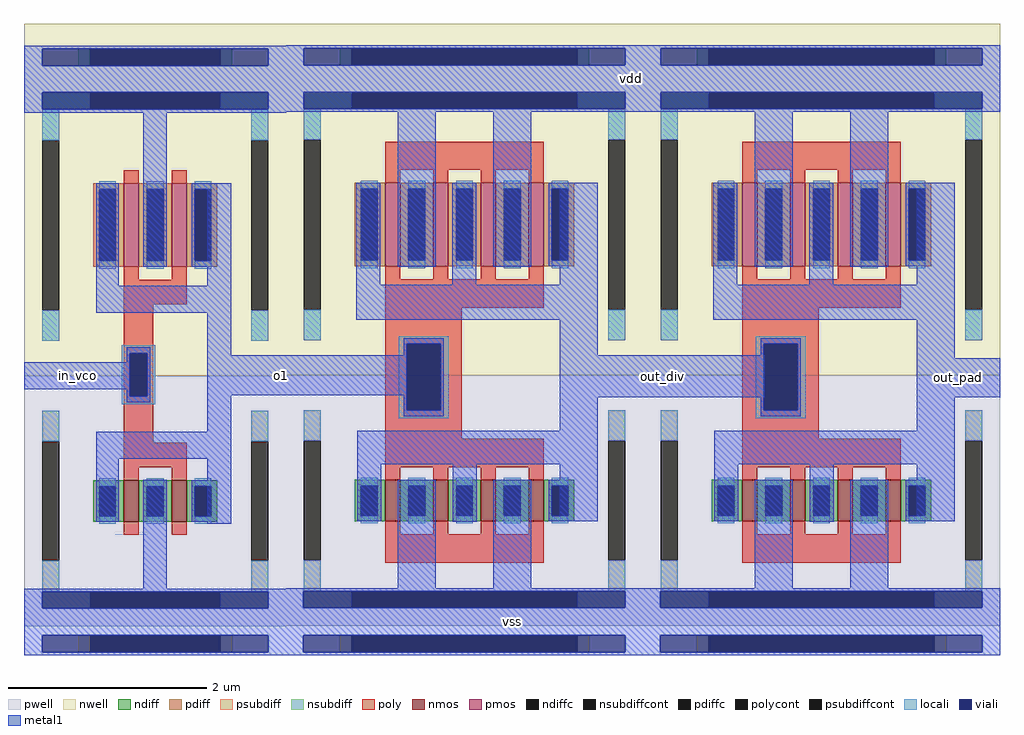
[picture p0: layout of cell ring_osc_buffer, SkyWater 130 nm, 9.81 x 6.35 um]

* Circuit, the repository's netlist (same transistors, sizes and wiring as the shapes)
**.subckt ring_osc_buffer vdd vss in_vco out_pad out_div o1
*.iopin vdd
*.iopin vss
*.ipin in_vco
*.opin out_pad
*.opin out_div
*.iopin o1
x1 vdd o1 in_vco vss inverter_min_x2
x2 vdd out_div o1 vss inverter_min_x4
x3 vdd out_pad out_div vss inverter_min_x4
**.ends

* expanding   symbol:  inverter_min_x2.sym # of pins=4
* sym_path: /home/dhernando/caravel_analog_fulgor/xschem/inverter_min_x2.sym
* sch_path: /home/dhernando/caravel_analog_fulgor/xschem/inverter_min_x2.sch
.subckt inverter_min_x2  vdd out in vss
*.iopin vss
*.ipin in
*.opin out
*.iopin vdd
XM2 out in vdd vdd sky130_fd_pr__pfet_01v8 L=0.15 W=0.84 nf=1 ad='int((nf+1)/2) * W/nf * 0.29' as='int((nf+2)/2) * W/nf * 0.29'
+ pd='2*int((nf+1)/2) * (W/nf + 0.29)' ps='2*int((nf+2)/2) * (W/nf + 0.29)' nrd='0.29 / W' nrs='0.29 / W'
+ sa=0 sb=0 sd=0 mult=2 m=2 
XM1 out in vss vss sky130_fd_pr__nfet_01v8 L=0.15 W=0.42 nf=1 ad='int((nf+1)/2) * W/nf * 0.29' as='int((nf+2)/2) * W/nf * 0.29'
+ pd='2*int((nf+1)/2) * (W/nf + 0.29)' ps='2*int((nf+2)/2) * (W/nf + 0.29)' nrd='0.29 / W' nrs='0.29 / W'
+ sa=0 sb=0 sd=0 mult=2 m=2 
.ends


* expanding   symbol:  inverter_min_x4.sym # of pins=4
* sym_path: /home/dhernando/caravel_analog_fulgor/xschem/inverter_min_x4.sym
* sch_path: /home/dhernando/caravel_analog_fulgor/xschem/inverter_min_x4.sch
.subckt inverter_min_x4  vdd out in vss
*.iopin vss
*.ipin in
*.opin out
*.iopin vdd
XM2 out in vdd vdd sky130_fd_pr__pfet_01v8 L=0.15 W=0.84 nf=1 ad='int((nf+1)/2) * W/nf * 0.29' as='int((nf+2)/2) * W/nf * 0.29'
+ pd='2*int((nf+1)/2) * (W/nf + 0.29)' ps='2*int((nf+2)/2) * (W/nf + 0.29)' nrd='0.29 / W' nrs='0.29 / W'
+ sa=0 sb=0 sd=0 mult=4 m=4 
XM1 out in vss vss sky130_fd_pr__nfet_01v8 L=0.15 W=0.42 nf=1 ad='int((nf+1)/2) * W/nf * 0.29' as='int((nf+2)/2) * W/nf * 0.29'
+ pd='2*int((nf+1)/2) * (W/nf + 0.29)' ps='2*int((nf+2)/2) * (W/nf + 0.29)' nrd='0.29 / W' nrs='0.29 / W'
+ sa=0 sb=0 sd=0 mult=4 m=4 
.ends

** flattened .save nodes
.end

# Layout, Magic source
magic
tech sky130A
magscale 1 2
<< nwell >>
rect 1 1259 1963 1270
rect 1 744 1961 1259
<< metal1 >>
rect 491 1186 1963 1187
rect 1 1133 1963 1186
rect 1 1132 1954 1133
rect 1 535 213 589
rect 397 523 639 603
rect 1078 519 1490 603
rect 1796 519 1963 597
rect 0 40 1963 94
use inverter_min_x4  inverter_min_x4_0
transform 1 0 580 0 1 616
box -53 -616 665 643
use inverter_min_x4  inverter_min_x4_1
transform 1 0 1298 0 1 616
box -53 -616 665 643
use inverter_min_x2  inverter_min_x2_0
transform 1 0 54 0 1 615
box -53 -615 473 655
<< labels >>
rlabel metal1 1 535 213 589 1 in_vco
rlabel metal1 397 523 639 603 1 o1
rlabel metal1 1078 519 1490 603 1 out_div
rlabel metal1 1796 519 1963 597 1 out_pad
rlabel metal1 491 1132 1954 1187 1 vdd
rlabel metal1 0 40 1963 94 1 vss
<< end >>

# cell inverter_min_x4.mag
magic
tech sky130A
magscale 1 2
<< nwell >>
rect -53 531 665 643
<< psubdiff >>
rect 55 -610 79 -576
rect 533 -610 557 -576
<< nsubdiff >>
rect 55 571 79 605
rect 533 571 557 605
<< psubdiffcont >>
rect 79 -610 533 -576
<< nsubdiffcont >>
rect 79 571 533 605
<< poly >>
rect 147 360 465 417
rect 147 83 465 140
rect 147 10 300 83
rect 147 -123 190 10
rect 258 -123 300 10
rect 147 -181 300 -123
rect 147 -238 465 -181
rect 147 -430 465 -373
<< polycont >>
rect 190 -123 258 10
<< locali >>
rect 174 10 274 26
rect 174 -123 190 10
rect 258 -123 274 10
rect 174 -139 274 -123
<< viali >>
rect -17 571 79 605
rect 79 571 533 605
rect 533 571 629 605
rect -17 483 629 517
rect 190 -123 258 10
rect -18 -521 629 -487
rect -18 -610 79 -576
rect 79 -610 533 -576
rect 533 -610 629 -576
<< metal1 >>
rect -53 605 665 611
rect -53 571 -17 605
rect 629 571 665 605
rect -53 517 665 571
rect -53 483 -17 517
rect 629 483 665 517
rect -53 477 665 483
rect 88 129 137 334
rect 172 165 248 477
rect 281 129 330 333
rect 364 165 440 477
rect 498 129 574 334
rect 88 59 574 129
rect 184 10 264 22
rect 184 -13 190 10
rect -53 -93 190 -13
rect 184 -123 190 -93
rect 258 -123 264 10
rect 184 -135 264 -123
rect 498 -19 574 59
rect 498 -97 665 -19
rect 498 -165 574 -97
rect 90 -232 574 -165
rect 90 -347 139 -232
rect 172 -481 248 -263
rect 282 -348 331 -232
rect 364 -481 440 -263
rect 498 -347 574 -232
rect -53 -487 665 -481
rect -53 -521 -18 -487
rect 629 -521 665 -487
rect -53 -576 665 -521
rect -53 -610 -18 -576
rect 629 -610 665 -576
rect -53 -616 665 -610
use sky130_fd_pr__nfet_01v8_DXA56D  sky130_fd_pr__nfet_01v8_DXA56D_0
transform 1 0 306 0 1 -305
box -359 -252 359 252
use sky130_fd_pr__pfet_01v8_ZP3U9B  sky130_fd_pr__pfet_01v8_ZP3U9B_0
transform 1 0 306 0 1 250
box -359 -303 359 303
<< labels >>
rlabel metal1 -53 -576 665 -521 1 vss
rlabel metal1 -53 -93 190 -13 1 in
rlabel metal1 498 -97 665 -19 1 out
rlabel metal1 -53 517 665 571 1 vdd
<< end >>

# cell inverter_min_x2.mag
magic
tech sky130A
magscale 1 2
<< nwell >>
rect -53 551 473 655
rect 24 543 385 551
rect 29 539 371 543
<< psubdiff >>
rect 55 -609 79 -575
rect 341 -609 365 -575
<< nsubdiff >>
rect 55 571 79 605
rect 341 571 365 605
<< psubdiffcont >>
rect 79 -609 341 -575
<< nsubdiffcont >>
rect 79 571 341 605
<< poly >>
rect 147 91 273 140
rect 147 -8 206 91
rect 147 -94 159 -8
rect 194 -94 206 -8
rect 147 -188 206 -94
rect 147 -237 273 -188
<< polycont >>
rect 159 -94 194 -8
<< locali >>
rect 143 -8 210 8
rect 143 -94 159 -8
rect 194 -94 210 -8
rect 143 -110 210 -94
<< viali >>
rect -17 571 79 605
rect 79 571 341 605
rect 341 571 437 605
rect -17 483 437 517
rect 159 -94 194 -8
rect -17 -521 437 -487
rect -17 -609 79 -575
rect 79 -609 341 -575
rect 341 -609 437 -575
<< metal1 >>
rect -53 605 473 611
rect -53 571 -17 605
rect 437 571 473 605
rect -53 517 473 571
rect -53 483 -17 517
rect 437 483 473 517
rect -53 476 473 483
rect 91 128 137 334
rect 186 166 233 476
rect 315 128 363 334
rect 91 74 363 128
rect 153 -8 200 4
rect 153 -26 159 -8
rect -53 -80 159 -26
rect 153 -94 159 -80
rect 194 -94 200 -8
rect 153 -106 200 -94
rect 315 -26 363 74
rect 315 -80 473 -26
rect 315 -166 363 -80
rect 91 -220 363 -166
rect 91 -347 137 -220
rect 186 -481 233 -262
rect 315 -351 363 -220
rect -53 -487 473 -481
rect -53 -521 -17 -487
rect 437 -521 473 -487
rect -53 -575 473 -521
rect -53 -609 -17 -575
rect 437 -609 473 -575
rect -53 -615 473 -609
use sky130_fd_pr__pfet_01v8_ZPB9BB  sky130_fd_pr__pfet_01v8_ZPB9BB_0
transform 1 0 210 0 1 250
box -263 -303 263 303
use sky130_fd_pr__nfet_01v8_5RJ8EK  sky130_fd_pr__nfet_01v8_5RJ8EK_0
transform 1 0 210 0 1 -305
box -263 -252 263 252
<< labels >>
rlabel metal1 -53 -80 159 -26 1 in
rlabel metal1 315 -80 473 -26 1 out
rlabel metal1 -53 517 473 571 1 vdd
rlabel metal1 -53 -575 473 -521 1 vss
<< end >>

# cell sky130_fd_pr__pfet_01v8_ZPB9BB: kit device sky130_fd_pr__pfet_01v8, w 0.84 l 0.15 m 1 nf 2 diffcov 100 polycov 100 guard 1 glc 1 grc 1 gtc 1 gbc 0 tbcov 100 rlcov 100 topc 0 botc 0 poverlap 0 doverlap 1 lmin 0.15 wmin 0.42 compatible {sky130_fd_pr__pfet_01v8 sky130_fd_pr__pfet_01v8_lvt sky130_fd_pr__pfet_01v8_hvt sky130_fd_pr__pfet_g5v0d10v5} full_metal 1 viasrc 100 viadrn 100 viagate 100 viagb 0 viagr 0 viagl 0 viagt 0

# cell sky130_fd_pr__nfet_01v8_5RJ8EK: kit device sky130_fd_pr__nfet_01v8, w 0.420 l 0.150 m 1 nf 2 diffcov 100 polycov 100 guard 1 glc 1 grc 1 gtc 0 gbc 1 tbcov 100 rlcov 100 topc 0 botc 0 poverlap 0 doverlap 1 lmin 0.15 wmin 0.42 compatible {sky130_fd_pr__nfet_01v8 sky130_fd_pr__nfet_01v8_lvt sky130_fd_bs_flash__special_sonosfet_star sky130_fd_pr__nfet_g5v0d10v5 sky130_fd_pr__nfet_05v0_nvt sky130_fd_pr__nfet_03v3_nvt} full_metal 1 viasrc 100 viadrn 100 viagate 100 viagb 0 viagr 0 viagl 0 viagt 0

# cell sky130_fd_pr__nfet_01v8_DXA56D: kit device sky130_fd_pr__nfet_01v8, w 0.420 l 0.150 m 1 nf 4 diffcov 100 polycov 100 guard 1 glc 1 grc 1 gtc 0 gbc 1 tbcov 100 rlcov 100 topc 0 botc 0 poverlap 0 doverlap 1 lmin 0.15 wmin 0.42 compatible {sky130_fd_pr__nfet_01v8 sky130_fd_pr__nfet_01v8_lvt sky130_fd_bs_flash__special_sonosfet_star sky130_fd_pr__nfet_g5v0d10v5 sky130_fd_pr__nfet_05v0_nvt sky130_fd_pr__nfet_03v3_nvt} full_metal 1 viasrc 100 viadrn 100 viagate 100 viagb 0 viagr 0 viagl 0 viagt 0

# cell sky130_fd_pr__pfet_01v8_ZP3U9B: kit device sky130_fd_pr__pfet_01v8, w 0.84 l 0.15 m 1 nf 4 diffcov 100 polycov 100 guard 1 glc 1 grc 1 gtc 1 gbc 0 tbcov 100 rlcov 100 topc 0 botc 0 poverlap 0 doverlap 1 lmin 0.15 wmin 0.42 compatible {sky130_fd_pr__pfet_01v8 sky130_fd_pr__pfet_01v8_lvt sky130_fd_pr__pfet_01v8_hvt sky130_fd_pr__pfet_g5v0d10v5} full_metal 1 viasrc 100 viadrn 100 viagate 100 viagb 0 viagr 0 viagl 0 viagt 0
